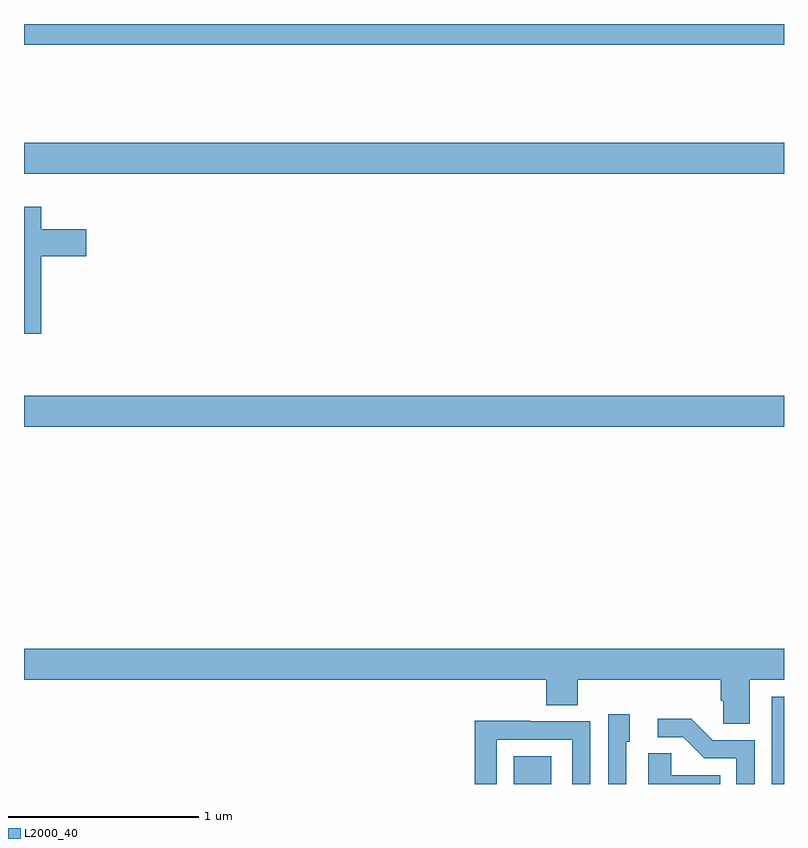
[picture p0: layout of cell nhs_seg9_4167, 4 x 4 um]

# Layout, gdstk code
import gdstk
lib = gdstk.Library(unit=1e-6, precision=1e-09)
def R(c, l, rs):  # rectangles x0, y0, x1, y1
    for r in rs: c.add(gdstk.rectangle(r[:2], r[2:], *l))
def P(c, l, *ps):  # polygons
    for p in ps: c.add(gdstk.Polygon(p, *l))
L2000_40 = (2000, 40)

nhs_seg9_4167 = lib.new_cell('nhs_seg9_4167')
R(nhs_seg9_4167, L2000_40, [(351.578,1234.5,351.775,1234.645), (352.935,1234.5,353,1234.959), (349,1236.38,353,1236.544), (349,1237.712,353,1237.876), (349,1238.392,353,1238.5)])
P(nhs_seg9_4167, L2000_40, [(349.091,1237.277),(349.327,1237.277),(349.327,1237.419),(349.091,1237.419),(349.091,1237.537),(349,1237.537),(349,1236.87),(349.091,1236.87)],
  [(352.819,1235.048),(353,1235.048),(353,1235.212),(349,1235.212),(349,1235.048),(351.749,1235.048),(351.749,1234.915),(351.914,1234.915),(351.914,1235.048),(352.667,1235.048),(352.667,1234.939),(352.68,1234.939),(352.68,1234.816),(352.819,1234.816)],
  [(352.17,1234.722),(352.189,1234.722),(352.189,1234.867),(352.074,1234.867),(352.074,1234.5),(352.17,1234.5)],
  [(352.845,1234.731),(352.626,1234.731),(352.513,1234.844),(352.335,1234.844),(352.335,1234.746),(352.469,1234.746),(352.58,1234.635),(352.749,1234.635),(352.749,1234.5),(352.845,1234.5)],
  [(351.489,1234.734),(351.885,1234.734),(351.885,1234.5),(351.981,1234.5),(351.981,1234.83),(351.665,1234.83),(351.665,1234.832),(351.373,1234.832),(351.373,1234.5),(351.489,1234.5)],
  [(352.664,1234.546),(352.407,1234.546),(352.407,1234.661),(352.286,1234.661),(352.286,1234.5),(352.664,1234.5)])

lib.write_gds('nhs_seg9_4167.gds')
